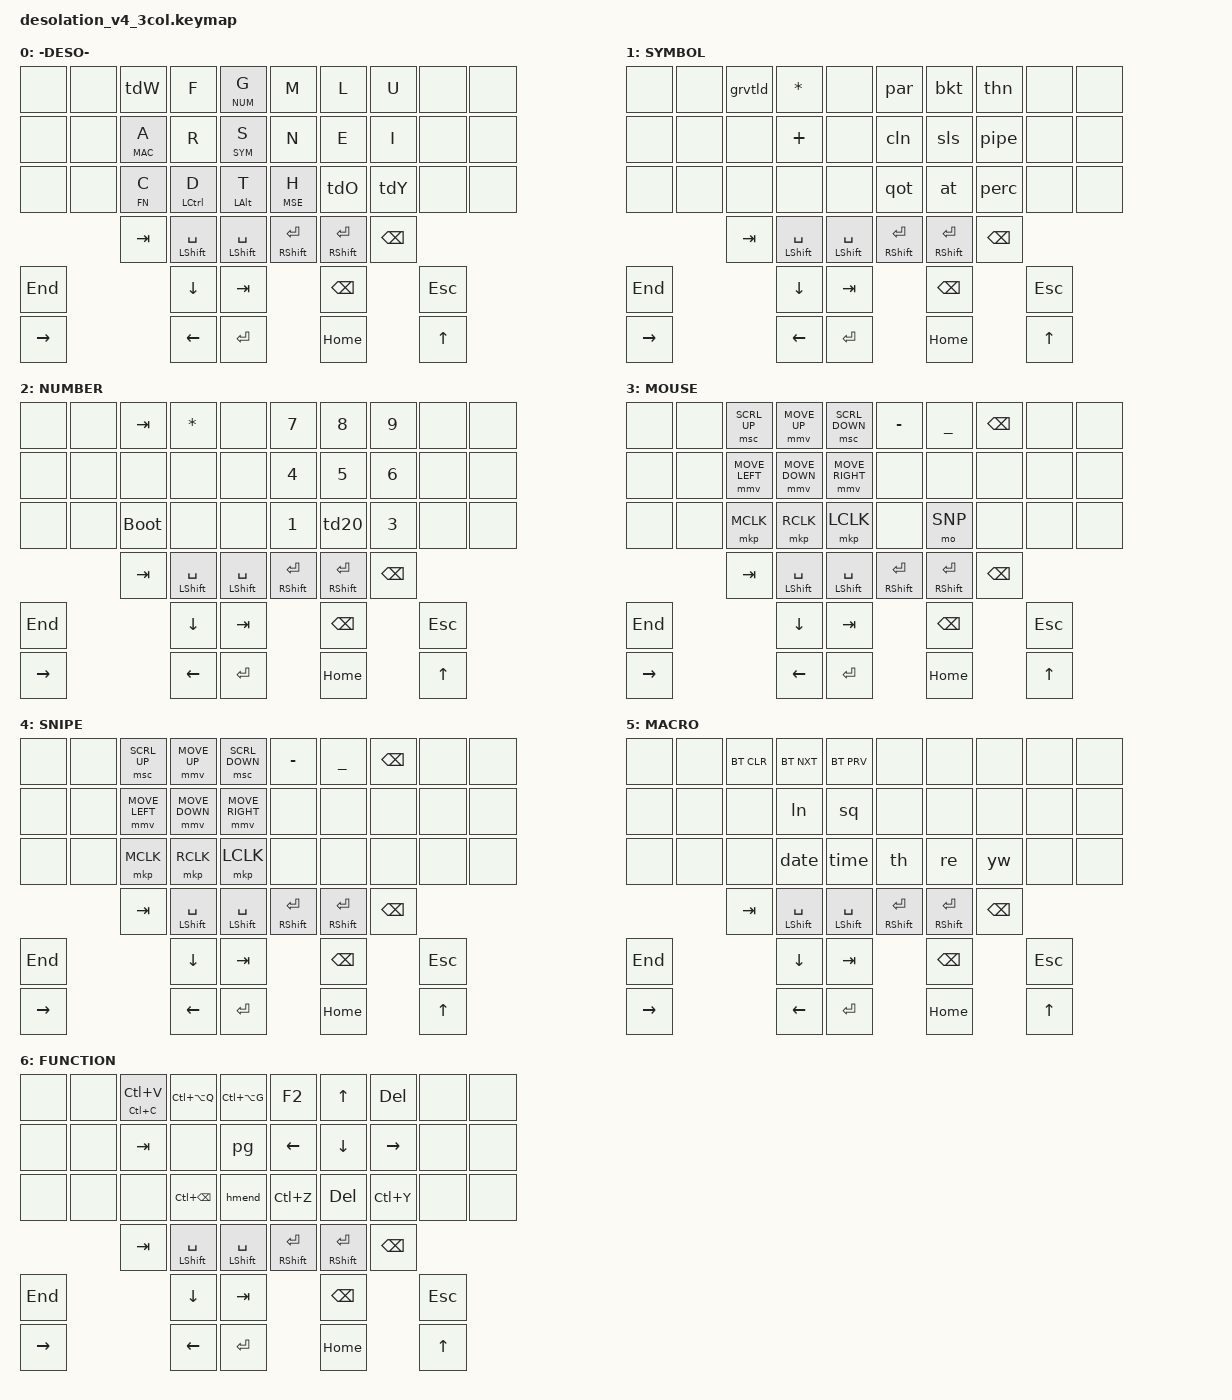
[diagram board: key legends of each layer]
/*
 * Last Update 12/3/24
 * MM20 Keymap - Desolation v4 3 column
 * 
 */

// #define ZMK_POINTING_DEFAULT_MOVE_VAL 1500  // default: 600
// #define ZMK_POINTING_DEFAULT_SCRL_VAL 20    // default: 10

#include <behaviors.dtsi>
#include <input/processors.dtsi>
#include <zephyr/dt-bindings/input/input-event-codes.h>
#include <dt-bindings/zmk/keys.h>
#include <dt-bindings/zmk/bt.h>
#include <dt-bindings/zmk/outputs.h>
#include <dt-bindings/zmk/pointing.h>

#define DEF         0
#define SYM         1
#define NUM         2
#define MSE         3
#define SNP         4
#define MAC         5
#define FN          6

#define SFE      &mt RSHIFT ENTER
#define SFS      &mt LSHIFT SPACE
#define CPST     &cccv LC(C) LC(V)
#define CLIP     &kp LC(LA(Q))
#define GSHT     &kp LC(LA(G))
#define MSEH     &lt MSE H
#define MACA     &lt MAC A 
#define NUMG     &lt NUM G
#define SYMS     &lt SYM S 
#define FNC      &lt FN C
#define LCTD     &hrm LCTRL D
#define LLTT     &hrm LALT T
#define RTRN     &kp RET
#define TB       &kp TAB
#define STR      &kp STAR
#define PLS      &kp PLUS
#define BSP      &kp BSPC
#define GRVT     &grvtld
#define HMND     &hmend
#define BOOT     &bootloader
#define SNPL     &mo SNP
#define NNN      &none
#define DWRD     &kp LC(BSPC)
#define BTC      &bt BT_CLR
#define BTN      &bt BT_NXT
#define BTP      &bt BT_PRV

#define MIN   &kp MINUS
#define BSP   &kp BSPC
#define UNDR  &kp UNDER
#define NNN   &none

#define MM_U &mmv MOVE_UP
#define MM_D &mmv MOVE_DOWN
#define MM_R &mmv MOVE_RIGHT
#define MM_L &mmv MOVE_LEFT

#define MS_U &msc SCRL_UP
#define MS_D &msc SCRL_DOWN
#define MS_R &msc SCRL_RIGHT
#define MS_L &msc SCRL_LEFT

#define MCK  &mkp MCLK  
#define RCK  &mkp RCLK  
#define LCK  &mkp LCLK 

&mt {
    tapping-term-ms = <160>;
};

&lt {
    tapping-term-ms = <150>;
};

&mmv_input_listener {
        snipe {
            layers = <SNP>;
            input-processors = <&zip_xy_scaler 1 2>;
        };
        standard {
            layers = <MSE>;
            input-processors = <&zip_xy_scaler 3 1>;
        };
};

/ {
    combos {

        compatible = "zmk,combos";
        combo_q {
            timeout-ms = <50>;
            key-positions = <2 3>;
            bindings = <&kp Q>;
        };

        compatible = "zmk,combos";
        combo_b {
            timeout-ms = <50>;
            key-positions = <3 4>;
            bindings = <&kp B>;
        };

        compatible = "zmk,combos";
        combo_j {
            timeout-ms = <50>;
            key-positions = <5 6>;
            bindings = <&kp J>;
        };

        compatible = "zmk,combos";
        combo_bspc {
            timeout-ms = <50>;
            key-positions = <6 7>;
            bindings = <&kp BSPC>;
        };

        compatible = "zmk,combos";
        combo_v {
            timeout-ms = <50>;
            key-positions = <12 13>;
            bindings = <&kp V>;
        };

        compatible = "zmk,combos";
        combo_p {
            timeout-ms = <50>;
            key-positions = <13 14>;
            bindings = <&kp P>;
        };

        compatible = "zmk,combos";
        combo_k {
            timeout-ms = <50>;
            key-positions = <15 16>;
            bindings = <&kp K>;
        };

        compatible = "zmk,combos";
        combo_excl {
            timeout-ms = <50>;
            key-positions = <16 17>;
            bindings = <&kp EXCL>;
        };

        compatible = "zmk,combos";
        combo_z {
            timeout-ms = <50>;
            key-positions = <22 23>;
            bindings = <&kp Z>;
        };

        compatible = "zmk,combos";
        combo_x {
            timeout-ms = <50>;
            key-positions = <23 24>;
            bindings = <&kp X>;
        };

        compatible = "zmk,combos";
        combo_qmark {
            timeout-ms = <50>;
            key-positions = <26 27>;
            bindings = <&kp QMARK>;
        };
    };

    behaviors {

        bkt: tap_dance_bracket {
            compatible = "zmk,behavior-tap-dance";
            #binding-cells = <0>;
            tapping-term-ms = <200>;
            bindings = <&kp LBKT>, <&kp RBKT>;
        };

        cln: tap_dance_colon {
            compatible = "zmk,behavior-tap-dance";
            #binding-cells = <0>;
            tapping-term-ms = <200>;
            bindings = <&kp COLON>, <&kp SEMI>;
        };

        par: tap_dance_paren {
            compatible = "zmk,behavior-tap-dance";
            #binding-cells = <0>;
            tapping-term-ms = <200>;
            bindings = <&kp LPAR>, <&kp RPAR>;
        };

        thn: tap_dance_then {
            compatible = "zmk,behavior-tap-dance";
            #binding-cells = <0>;
            tapping-term-ms = <200>;
            bindings = <&kp LT>, <&kp GT>;
        };

        qot: tap_dance_quote {
            compatible = "zmk,behavior-tap-dance";
            #binding-cells = <0>;
            tapping-term-ms = <200>;
            bindings = <&kp SQT>, <&kp DQT>;
        };

        sls: tap_dance_slash {
            compatible = "zmk,behavior-tap-dance";
            #binding-cells = <0>;
            tapping-term-ms = <200>;
            bindings = <&kp FSLH>, <&kp BSLH>;
        };

        pipe: tap_dance_pipe {
            compatible = "zmk,behavior-tap-dance";
            #binding-cells = <0>;
            tapping-term-ms = <200>;
            bindings = <&kp PIPE>, <&kp AMPS>;
        };

        at: tap_dance_at {
            compatible = "zmk,behavior-tap-dance";
            #binding-cells = <0>;
            tapping-term-ms = <200>;
            bindings = <&kp AT>, <&kp HASH>;
        };

        grvtld: tap_dance_gravetilde {
            compatible = "zmk,behavior-tap-dance";
            #binding-cells = <0>;
            tapping-term-ms = <200>;
            bindings = <&kp GRAVE>, <&kp TILDE>;
        };

        perc: tap_dance_perc {
            compatible = "zmk,behavior-tap-dance";
            #binding-cells = <0>;
            tapping-term-ms = <200>;
            bindings = <&kp PRCNT>, <&kp DLLR>;
        };

        pg: tap_dance_pg {
            compatible = "zmk,behavior-tap-dance";
            #binding-cells = <0>;
            tapping-term-ms = <200>;
            bindings = <&kp PG_DN>, <&kp PG_UP>;
        };

        hmend: tap_dance_hmend {
            compatible = "zmk,behavior-tap-dance";
            #binding-cells = <0>;
            tapping-term-ms = <200>;
            bindings = <&kp END>, <&kp HOME>;
        };

        tdW: tap_dance_W {
            compatible = "zmk,behavior-tap-dance";
            #binding-cells = <0>;
            tapping-term-ms = <180>;
            bindings = <&kp W>, <&kp ESC>;
        };

        tdO: tap_dance_O {
            compatible = "zmk,behavior-tap-dance";
            #binding-cells = <0>;
            tapping-term-ms = <200>;
            bindings = <&kp O>, <&kp COMMA>;
        };

        tdY: tap_dance_Y {
            compatible = "zmk,behavior-tap-dance";
            #binding-cells = <0>;
            tapping-term-ms = <200>;
            bindings = <&kp Y>, <&kp DOT>;
        };

        td20: tap_dance_20 {
            compatible = "zmk,behavior-tap-dance";
            #binding-cells = <0>;
            tapping-term-ms = <200>;
            bindings = <&kp N2>, <&kp N0>;
        };

        cccv: copy_paste {
           compatible = "zmk,behavior-hold-tap";
           #binding-cells = <2>;
           flavor = "hold-preferred";
           tapping-term-ms = <200>;
            bindings = <&kp>, <&kp>;
        };

        hrm: homerow_mods {
            compatible = "zmk,behavior-hold-tap";
            #binding-cells = <2>;
            tapping-term-ms = <200>;
            quick-tap-ms = <0>;
            flavor = "tap-preferred";
            bindings = <&kp>, <&kp>;
        };
    };

    macros {
        th: ahk_th {
            compatible = "zmk,behavior-macro";
            #binding-cells = <0>;
            bindings
                = <&macro_tap &kp FSLH &kp FSLH &kp T &kp H>
                ;
        };

        em: ahk_em {
            compatible = "zmk,behavior-macro";
            #binding-cells = <0>;
            bindings
                = <&macro_tap &kp FSLH &kp FSLH &kp E &kp M>
                ;
        };

        re: ahk_re {
            compatible = "zmk,behavior-macro";
            #binding-cells = <0>;
            bindings
                = <&macro_tap &kp FSLH &kp FSLH &kp R &kp E>
                ;
        };

        yw: ahk_yw {
            compatible = "zmk,behavior-macro";
            #binding-cells = <0>;
            bindings
                = <&macro_tap &kp FSLH &kp FSLH &kp Y &kp W>
                ;
        };

        date: ahk_date {
            compatible = "zmk,behavior-macro";
            #binding-cells = <0>;
            bindings
                = <&macro_tap &kp FSLH &kp FSLH &kp A &kp N1 &kp N1>
                ;
        };

        time: ahk_time {
            compatible = "zmk,behavior-macro";
            #binding-cells = <0>;
            bindings
                = <&macro_tap &kp FSLH &kp FSLH &kp A &kp N1 &kp N2>
                ;
        };

        ln: ahk_lines {
            compatible = "zmk,behavior-macro";
            #binding-cells = <0>;
            bindings
                = <&macro_tap &kp FSLH &kp FSLH &kp A &kp N0 &kp N8>
                ;
        };

        sq: ahk_square {
            compatible = "zmk,behavior-macro";
            #binding-cells = <0>;
            bindings
                = <&macro_tap &kp FSLH &kp FSLH &kp A &kp N0 &kp N9>
                ;
        };
    };


    keymap {
        compatible = "zmk,keymap";

        default_layer {
            display-name = "-DESO-";  
            bindings = <
                NNN NNN &tdW &kp F NUMG      &kp M &kp L &kp U NNN NNN
                NNN NNN MACA &kp R SYMS      &kp N &kp E &kp I NNN NNN
                NNN NNN FNC  LCTD  LLTT      MSEH  &tdO  &tdY  NNN NNN
                         TB  SFS   SFS       SFE   SFE  BSP
                &kp END    &kp DOWN     TB        BSP           &kp ESC
                &kp RIGHT  &kp LEFT     RTRN      &kp HOME      &kp UP
            >;
        };

        sym_layer {
            display-name = "SYMBOL";  
            bindings = <
                NNN NNN GRVT STR NNN    &par &bkt &thn  NNN NNN
                NNN NNN NNN  PLS NNN    &cln &sls &pipe NNN NNN
                NNN NNN NNN  NNN NNN    &qot &at  &perc NNN NNN
                        TB   SFS SFS    SFE  SFE  BSP
                &kp END    &kp DOWN     TB        BSP           &kp ESC
                &kp RIGHT  &kp LEFT     RTRN      &kp HOME      &kp UP
            >;
        };

        num_layer {
            display-name = "NUMBER";  
            bindings = <
                NNN NNN TB   STR NNN      &kp N7 &kp N8 &kp N9 NNN NNN
                NNN NNN NNN  NNN NNN      &kp N4 &kp N5 &kp N6 NNN NNN
                NNN NNN BOOT NNN NNN      &kp N1 &td20  &kp N3 NNN NNN
                        TB   SFS SFS      SFE    SFE    BSP
                &kp END    &kp DOWN     TB        BSP           &kp ESC
                &kp RIGHT  &kp LEFT     RTRN      &kp HOME      &kp UP
            >;
        };

        mse_layer {
            display-name = "MOUSE";
            bindings = <
                NNN NNN MS_U MM_U MS_D   MIN UNDR BSP  NNN NNN
                NNN NNN MM_L MM_D MM_R   NNN NNN  NNN  NNN NNN 
                NNN NNN MCK  RCK  LCK    NNN SNPL NNN  NNN NNN
                         TB  SFS  SFS    SFE SFE  BSP
                &kp END    &kp DOWN     TB        BSP           &kp ESC
                &kp RIGHT  &kp LEFT     RTRN      &kp HOME      &kp UP
            >;
        };

        snp_layer {
            display-name = "SNIPE";
            bindings = <
                NNN NNN MS_U MM_U MS_D   MIN UNDR BSP  NNN NNN
                NNN NNN MM_L MM_D MM_R   NNN NNN  NNN  NNN NNN 
                NNN NNN MCK  RCK  LCK    NNN NNN  NNN NNN NNN
                         TB  SFS  SFS    SFE SFE  BSP
                &kp END    &kp DOWN     TB        BSP           &kp ESC
                &kp RIGHT  &kp LEFT     RTRN      &kp HOME      &kp UP
            >;
        };

        mac_layer {
            display-name = "MACRO";
            bindings = <
                NNN NNN BTC BTN   BTP        NNN NNN NNN NNN NNN
                NNN NNN NNN &ln   &sq        NNN NNN NNN NNN NNN 
                NNN NNN NNN &date &time      &th &re &yw NNN NNN
                         TB  SFS   SFS       SFE   SFE  BSP
                &kp END    &kp DOWN     TB                BSP           &kp ESC
                &kp RIGHT  &kp LEFT     RTRN              &kp HOME      &kp UP
            >;
        };

        fn_layer {
            display-name = "FUNCTION";    
            bindings = <
                NNN NNN CPST CLIP GSHT     &kp F2    &kp UP   &kp DEL    NNN NNN 
                NNN NNN TB   NNN  &pg      &kp LEFT  &kp DOWN &kp RIGHT  NNN NNN 
                NNN NNN NNN  DWRD HMND     &kp LC(Z) &kp DEL  &kp LC(Y)  NNN NNN 
                        TB   SFS  SFS      SFE   SFE  BSP
                &kp END    &kp DOWN     TB        BSP           &kp ESC
                &kp RIGHT  &kp LEFT     RTRN      &kp HOME      &kp UP
            >;
        };
    };
};
